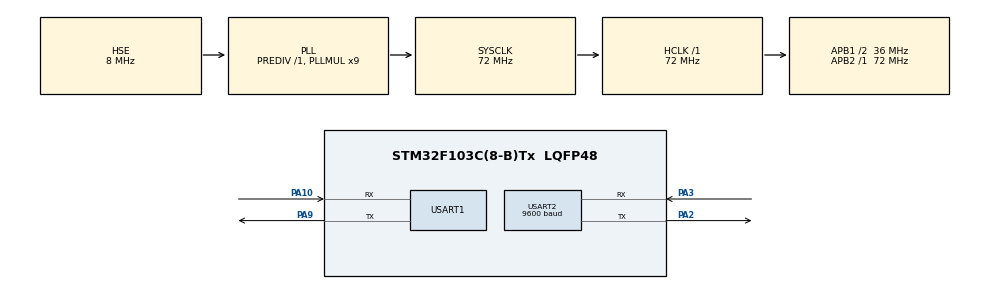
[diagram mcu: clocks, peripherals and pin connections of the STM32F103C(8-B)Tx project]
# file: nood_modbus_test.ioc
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FREERTOS.Tasks01=defaultTask,24,512,StartDefaultTask,Default,NULL,Dynamic,NULL,NULL
FREERTOS.configTOTAL_HEAP_SIZE=8192
Mcu.Family=STM32F1
Mcu.Name=STM32F103C(8-B)Tx
Mcu.Package=LQFP48
NVIC.PriorityGroup=NVIC_PRIORITYGROUP_4
NVIC.TIM1_UP_IRQn=true\:15\:0\:false\:false\:true\:false\:false\:true\:true
NVIC.TimeBase=TIM1_UP_IRQn
NVIC.TimeBaseIP=TIM1
NVIC.USART2_IRQn=true\:5\:0\:false\:false\:true\:true\:true\:true\:true
PA10.Mode=Asynchronous
PA10.Signal=USART1_RX
PA13.Mode=Serial_Wire
PA13.Signal=SYS_JTMS-SWDIO
PA14.Mode=Serial_Wire
PA14.Signal=SYS_JTCK-SWCLK
PA2.Mode=Asynchronous
PA2.Signal=USART2_TX
PA3.Mode=Asynchronous
PA3.Signal=USART2_RX
PA9.Mode=Asynchronous
PA9.Signal=USART1_TX
PC14-OSC32_IN.Mode=LSE-External-Oscillator
PC14-OSC32_IN.Signal=RCC_OSC32_IN
PC15-OSC32_OUT.Mode=LSE-External-Oscillator
PC15-OSC32_OUT.Signal=RCC_OSC32_OUT
PD0-OSC_IN.Mode=HSE-External-Oscillator
PD0-OSC_IN.Signal=RCC_OSC_IN
PD1-OSC_OUT.Mode=HSE-External-Oscillator
PD1-OSC_OUT.Signal=RCC_OSC_OUT
ProjectManager.HeapSize=0x200
ProjectManager.StackSize=0x400
ProjectManager.TargetToolchain=MDK-ARM V5.32
RCC.AHBFreq_Value=72000000
RCC.APB1CLKDivider=RCC_HCLK_DIV2
RCC.APB1Freq_Value=36000000
RCC.APB1TimFreq_Value=72000000
RCC.APB2Freq_Value=72000000
RCC.APB2TimFreq_Value=72000000
RCC.HCLKFreq_Value=72000000
RCC.PLLMUL=RCC_PLL_MUL9
RCC.PLLSourceVirtual=RCC_PLLSOURCE_HSE
RCC.SYSCLKFreq_VALUE=72000000
RCC.SYSCLKSource=RCC_SYSCLKSOURCE_PLLCLK
RCC.USBFreq_Value=72000000
USART1.VirtualMode=VM_ASYNC
USART2.BaudRate=9600
USART2.VirtualMode=VM_ASYNC
VP_FREERTOS_VS_CMSIS_V2.Mode=CMSIS_V2
VP_SYS_VS_tim1.Mode=TIM1
board=custom

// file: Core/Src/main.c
/* USER CODE BEGIN Header */
/**
  ******************************************************************************
  * @file           : main.c
  * @brief          : Main program body
  ******************************************************************************
  * @attention
  *
  * Copyright (c) 2026 STMicroelectronics.
  * All rights reserved.
  *
  * This software is licensed under terms that can be found in the LICENSE file
  * in the root directory of this software component.
  * If no LICENSE file comes with this software, it is provided AS-IS.
  *
  ******************************************************************************
  */
/* USER CODE END Header */
#include "main.h"
#include "cmsis_os.h"
#include "usart.h"
#include "gpio.h"

/* USER CODE BEGIN Includes */
#include <stdio.h>
#include <errno.h>
#include "modbus.h"
#include "kth2r.h"
/* USER CODE END Includes */

void SystemClock_Config(void);
void MX_FREERTOS_Init(void);

int main(void)
{

  /* MCU Configuration--------------------------------------------------------*/

  /* Reset of all peripherals, Initializes the Flash interface and the Systick. */
  HAL_Init();

  /* Configure the system clock */
  SystemClock_Config();

  /* Initialize all configured peripherals */
  MX_GPIO_Init();
  MX_USART1_UART_Init();
  MX_USART2_UART_Init();

  /* Init scheduler */
  osKernelInitialize();  /* Call init function for freertos objects (in cmsis_os2.c) */
  MX_FREERTOS_Init();

  /* Start scheduler */
  osKernelStart();

  /* We should never get here as control is now taken by the scheduler */

  /* Infinite loop */
  while (1)
  {

  }
}

void SystemClock_Config(void)
{
  RCC_OscInitTypeDef RCC_OscInitStruct = {0};
  RCC_ClkInitTypeDef RCC_ClkInitStruct = {0};

  /** Initializes the RCC Oscillators according to the specified parameters
  * in the RCC_OscInitTypeDef structure.
  */
  RCC_OscInitStruct.OscillatorType = RCC_OSCILLATORTYPE_HSE;
  RCC_OscInitStruct.HSEState = RCC_HSE_ON;
  RCC_OscInitStruct.HSEPredivValue = RCC_HSE_PREDIV_DIV1;
  RCC_OscInitStruct.HSIState = RCC_HSI_ON;
  RCC_OscInitStruct.PLL.PLLState = RCC_PLL_ON;
  RCC_OscInitStruct.PLL.PLLSource = RCC_PLLSOURCE_HSE;
  RCC_OscInitStruct.PLL.PLLMUL = RCC_PLL_MUL9;
  if (HAL_RCC_OscConfig(&RCC_OscInitStruct) != HAL_OK)
  {
    Error_Handler();
  }

  /** Initializes the CPU, AHB and APB buses clocks
  */
  RCC_ClkInitStruct.ClockType = RCC_CLOCKTYPE_HCLK|RCC_CLOCKTYPE_SYSCLK
                              |RCC_CLOCKTYPE_PCLK1|RCC_CLOCKTYPE_PCLK2;
  RCC_ClkInitStruct.SYSCLKSource = RCC_SYSCLKSOURCE_PLLCLK;
  RCC_ClkInitStruct.AHBCLKDivider = RCC_SYSCLK_DIV1;
  RCC_ClkInitStruct.APB1CLKDivider = RCC_HCLK_DIV2;
  RCC_ClkInitStruct.APB2CLKDivider = RCC_HCLK_DIV1;

  if (HAL_RCC_ClockConfig(&RCC_ClkInitStruct, FLASH_LATENCY_2) != HAL_OK)
  {
    Error_Handler();
  }
}

/* USER CODE BEGIN 4 */
int fputc(int ch, FILE *f)
{
    HAL_UART_Transmit(&huart1, (uint8_t *)&ch, 1, HAL_MAX_DELAY);
    return ch;
}
/* USER CODE END 4 */

void HAL_TIM_PeriodElapsedCallback(TIM_HandleTypeDef *htim)
{
  if (htim->Instance == TIM1)
  {
    HAL_IncTick();
  }
}

void Error_Handler(void)
{
  __disable_irq();
  while (1)
  {
  }
}

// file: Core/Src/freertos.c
/* USER CODE BEGIN Header */
/**
  ******************************************************************************
  * File Name          : freertos.c
  * Description        : Code for freertos applications
  ******************************************************************************
  * @attention
  *
  * Copyright (c) 2026 STMicroelectronics.
  * All rights reserved.
  *
  * This software is licensed under terms that can be found in the LICENSE file
  * in the root directory of this software component.
  * If no LICENSE file comes with this software, it is provided AS-IS.
  *
  ******************************************************************************
  */
/* USER CODE END Header */

#include "FreeRTOS.h"
#include "task.h"
#include "main.h"
#include "cmsis_os.h"

/* USER CODE BEGIN Includes */
#include <stdio.h>
#include "kth2r.h"
/* USER CODE END Includes */

/* Definitions for defaultTask */
osThreadId_t defaultTaskHandle;
const osThreadAttr_t defaultTask_attributes = {
  .name = "defaultTask",
  .stack_size = 512 * 4,
  .priority = (osPriority_t) osPriorityNormal,
};

/* USER CODE BEGIN FunctionPrototypes */
static void ModbusTest(void);
/* USER CODE END FunctionPrototypes */

void StartDefaultTask(void *argument);

void MX_FREERTOS_Init(void); /* (MISRA C 2004 rule 8.1) */

void MX_FREERTOS_Init(void) {

  /* Create the thread(s) */
  /* creation of defaultTask */
  defaultTaskHandle = osThreadNew(StartDefaultTask, NULL, &defaultTask_attributes);

}

void StartDefaultTask(void *argument)
{
  /* USER CODE BEGIN StartDefaultTask */
	if (KTH2R_Init() != 0) {
			printf("KTH2-R initialization failed\r\n");
			Error_Handler();
	}
  /* Infinite loop */
  for(;;)
  {

    ModbusTest();

    osDelay(1000);
  }
  /* USER CODE END StartDefaultTask */
}

/* USER CODE BEGIN Application */
static void ModbusTest(void)
{

    KTH2R_Data_t data;
    int temp_abs;

    if (KTH2R_Read(&data) != 0) {
        printf("KTH2-R read failed\r\n");
        return;
    }

    temp_abs = data.temperature_x10;

    if (temp_abs < 0) {
        temp_abs = -temp_abs;
    }

    printf("temp: %s%d.%d C, humi: %d.%d %%RH\r\n",
           data.temperature_x10 < 0 ? "-" : "",
           temp_abs / 10,
           temp_abs % 10,
           data.humidity_x10 / 10,
           data.humidity_x10 % 10);
}
/* USER CODE END Application */
